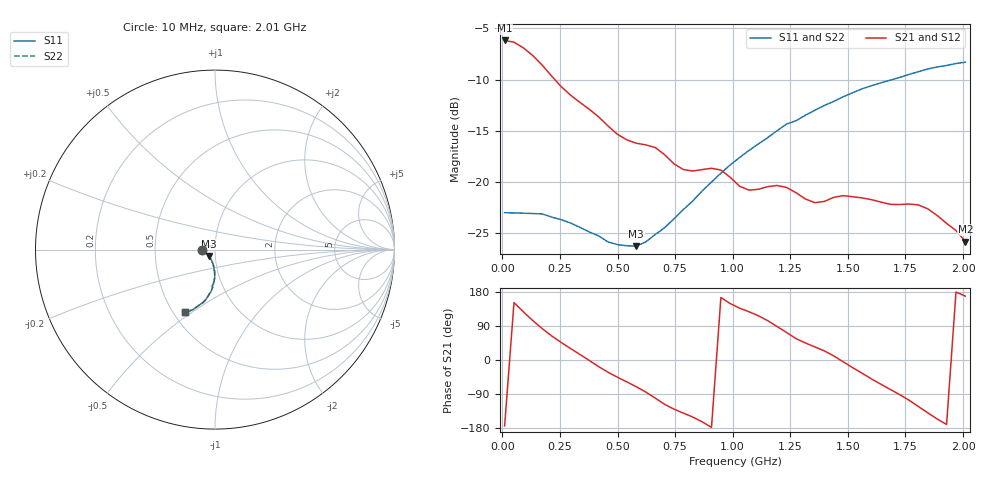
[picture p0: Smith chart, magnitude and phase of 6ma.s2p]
# MHz S MA R 50
!  freq  S11  S21  S12  S22
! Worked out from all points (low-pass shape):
!   50 points, 10 MHz to 2.01 GHz, reference 50 ohm
!   highest |S21| = -6.17 dB at 10 MHz (marker M1); lowest = -25.8 dB at 2.01 GHz (marker M2)
!   |S21| within 3 dB of the highest: start of sweep to 195.7 MHz
!   lowest |S11| = -26.3 dB at 581.4 MHz (marker M3), VSWR 1.10, Z = 46.6 - j3.29 ohm
!   |S11| at or under -10 dB: start of sweep to 1.691 GHz
!   |S22| runs from -26.3 to -8.3 dB; largest |S21 - S12| = 0.00059
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10  0.07076 -179.9  0.4915 -174.1  0.4915 -174.1  0.07072 -180.0
50.81633  0.07063 -178.4  0.482 151.7  0.4819 151.7  0.0705 -178.2
91.63265  0.07043 -177.2  0.4521 127.0  0.4523 126.9  0.07048 -177.0
132.449  0.07015 -176.2  0.4144 104.0  0.4145 104.0  0.07021 -176.1
173.2653  0.06983 -174.9  0.3724 82.8  0.3727 82.8  0.06982 -175.0
214.0816  0.06742 -174.0  0.3292 63.5  0.3292 63.6  0.06757 -173.7
254.898  0.0655 -172.7  0.2929 46.5  0.293 46.6  0.06555 -172.5
295.7143  0.0631 -170.5  0.2659 30.5  0.2662 30.5  0.06305 -170.3
377.3469  0.05701 -164.4  0.2268 -1.2  0.2269 -1.2  0.05697 -164.3
458.9796  0.05093 -154.5  0.1877 -32.3  0.1876 -32.4  0.0512 -154.6
581.4286  0.04859 -133.6  0.1547 -70.5  0.1547 -70.4  0.04862 -133.5
703.8776  0.05972 -111.3  0.1362 -116.8  0.1363 -116.7  0.05973 -111.0
785.5102  0.07334 -101.3  0.1151 -140.1  0.1151 -140.0  0.07311 -101.3
907.9592  0.09995 -93.5  0.1167 -177.8  0.1168 -177.7  0.09999 -93.5
948.7755  0.1104 -92.3  0.1144 164.9  0.1147 164.9  0.1102 -92.2
1030.408  0.1318 -90.8  0.09523 136.6  0.09515 136.7  0.1319 -90.8
1234.49  0.1921 -92.7  0.094 72.3  0.09406 72.3  0.1921 -92.6
1356.939  0.2242 -94.6  0.07925 34.4  0.07936 34.3  0.2243 -94.6
1520.204  0.2728 -99.5  0.08479 -20.0  0.08485 -20.2  0.273 -99.5
1683.469  0.3144 -104.7  0.07781 -77.5  0.07782 -77.4  0.3141 -104.7
1846.735  0.3565 -110.2  0.07397 -139.4  0.07407 -139.5  0.3566 -110.2
2010  0.385 -115.8  0.05118 168.5  0.05146 168.3  0.3849 -115.5
